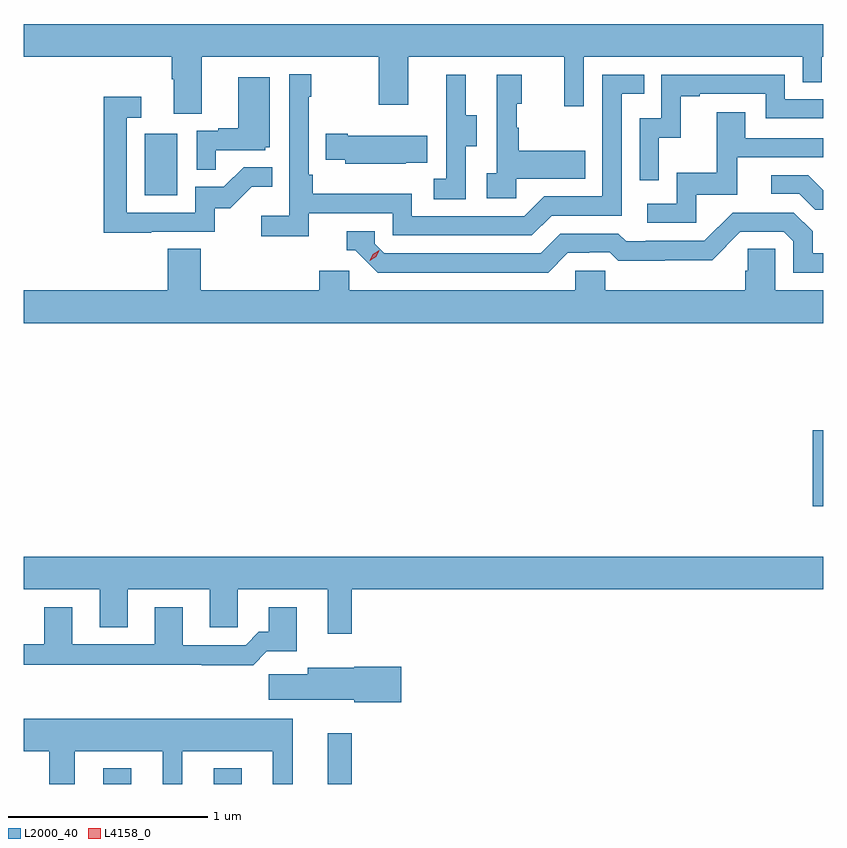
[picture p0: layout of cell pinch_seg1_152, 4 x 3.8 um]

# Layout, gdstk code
import gdstk
lib = gdstk.Library(unit=1e-6, precision=1e-09)
def R(c, l, rs):  # rectangles x0, y0, x1, y1
    for r in rs: c.add(gdstk.rectangle(r[:2], r[2:], *l))
def P(c, l, *ps):  # polygons
    for p in ps: c.add(gdstk.Polygon(p, *l))
L2000_40 = (2000, 40)
L4158_0 = (4158, 0)

pinch_seg1_152 = lib.new_cell('pinch_seg1_152')
R(pinch_seg1_152, L2000_40, [(1081.307,544.099,1081.447,544.177), (1081.859,544.099,1081.999,544.177), (1082.429,544.099,1082.551,544.354), (1084.856,545.487,1084.909,545.868), (1081.514,547.044,1081.678,547.351)])
P(pinch_seg1_152, L2000_40, [(1081.801,547.736),(1082.686,547.736),(1082.686,547.497),(1082.833,547.497),(1082.833,547.736),(1083.614,547.736),(1083.614,547.488),(1083.711,547.488),(1083.711,547.736),(1084.806,547.736),(1084.806,547.609),(1084.902,547.609),(1084.902,547.736),(1084.909,547.736),(1084.909,547.9),(1080.909,547.9),(1080.909,547.736),(1081.649,547.736),(1081.649,547.624),(1081.661,547.624),(1081.661,547.45),(1081.801,547.45)],
  [(1082.336,546.954),(1082.754,546.954),(1082.754,546.843),(1083.451,546.843),(1083.55,546.942),(1083.9,546.942),(1083.9,547.551),(1084.013,547.551),(1084.013,547.647),(1083.804,547.647),(1083.804,547.038),(1083.513,547.038),(1083.414,546.939),(1082.85,546.939),(1082.85,547.051),(1082.354,547.051),(1082.354,547.147),(1082.334,547.147),(1082.334,547.535),(1082.347,547.535),(1082.347,547.648),(1082.238,547.648),(1082.238,546.94),(1082.097,546.94),(1082.097,546.838),(1082.336,546.838)],
  [(1084.086,547.331),(1084.196,547.331),(1084.196,547.539),(1084.291,547.539),(1084.291,547.551),(1084.62,547.551),(1084.62,547.428),(1084.909,547.428),(1084.909,547.524),(1084.716,547.524),(1084.716,547.647),(1084.098,547.647),(1084.098,547.428),(1083.99,547.428),(1083.99,547.119),(1084.086,547.119)],
  [(1083.12,547.288),(1083.175,547.288),(1083.175,547.443),(1083.121,547.443),(1083.121,547.645),(1083.023,547.645),(1083.023,547.431),(1083.024,547.431),(1083.024,547.127),(1082.961,547.127),(1082.961,547.024),(1083.12,547.024)],
  [(1083.372,547.127),(1083.719,547.127),(1083.719,547.267),(1083.385,547.267),(1083.385,547.382),(1083.375,547.382),(1083.375,547.5),(1083.4,547.5),(1083.4,547.645),(1083.276,547.645),(1083.276,547.154),(1083.225,547.154),(1083.225,547.029),(1083.372,547.029)],
  [(1081.871,547.269),(1082.118,547.269),(1082.118,547.284),(1082.14,547.284),(1082.14,547.633),(1081.982,547.633),(1081.982,547.378),(1081.883,547.378),(1081.883,547.365),(1081.776,547.365),(1081.776,547.171),(1081.871,547.171)],
  [(1081.547,546.861),(1081.866,546.861),(1081.866,546.978),(1081.942,546.978),(1082.049,547.085),(1082.153,547.085),(1082.153,547.184),(1082.009,547.184),(1081.911,547.086),(1081.767,547.086),(1081.767,546.957),(1081.425,546.957),(1081.425,547.431),(1081.498,547.431),(1081.498,547.537),(1081.309,547.537),(1081.309,546.856),(1081.547,546.856)],
  [(1084.272,547.047),(1084.477,547.047),(1084.477,547.233),(1084.909,547.233),(1084.909,547.329),(1084.519,547.329),(1084.519,547.459),(1084.375,547.459),(1084.375,547.156),(1084.176,547.156),(1084.176,547.002),(1084.029,547.002),(1084.029,546.906),(1084.272,546.906)],
  [(1082.819,547.205),(1082.927,547.205),(1082.927,547.342),(1082.53,547.342),(1082.53,547.35),(1082.419,547.35),(1082.419,547.22),(1082.517,547.22),(1082.517,547.202),(1082.819,547.202)],
  [(1084.909,547.068),(1084.834,547.143),(1084.647,547.143),(1084.647,547.05),(1084.788,547.05),(1084.868,546.97),(1084.909,546.97)],
  [(1083.631,546.756),(1083.738,546.756),(1083.738,546.759),(1083.841,546.759),(1083.883,546.717),(1084.116,546.717),(1084.116,546.719),(1084.352,546.719),(1084.494,546.861),(1084.71,546.861),(1084.758,546.813),(1084.758,546.657),(1084.909,546.657),(1084.909,546.753),(1084.855,546.753),(1084.855,546.863),(1084.761,546.957),(1084.455,546.957),(1084.314,546.816),(1084.021,546.816),(1084.021,546.813),(1083.922,546.813),(1083.883,546.852),(1083.594,546.852),(1083.495,546.753),(1082.712,546.753),(1082.664,546.801),(1082.664,546.864),(1082.525,546.864),(1082.525,546.768),(1082.568,546.768),(1082.679,546.657),(1083.532,546.657)],
  [(1084.909,546.568),(1084.668,546.568),(1084.668,546.776),(1084.531,546.776),(1084.531,546.666),(1084.517,546.666),(1084.517,546.568),(1083.819,546.568),(1083.819,546.666),(1083.669,546.666),(1083.669,546.568),(1082.538,546.568),(1082.538,546.666),(1082.387,546.666),(1082.387,546.568),(1081.796,546.568),(1081.796,546.776),(1081.631,546.776),(1081.631,546.568),(1080.909,546.568),(1080.909,546.404),(1084.909,546.404)],
  [(1082.551,545.072),(1084.909,545.072),(1084.909,545.236),(1080.909,545.236),(1080.909,545.072),(1081.289,545.072),(1081.289,544.882),(1081.429,544.882),(1081.429,545.072),(1081.841,545.072),(1081.841,544.882),(1081.98,544.882),(1081.98,545.072),(1082.429,545.072),(1082.429,544.851),(1082.551,544.851)],
  [(1082.126,544.763),(1082.275,544.763),(1082.275,544.984),(1082.135,544.984),(1082.135,544.861),(1082.086,544.861),(1082.019,544.794),(1081.705,544.794),(1081.705,544.984),(1081.565,544.984),(1081.565,544.797),(1081.153,544.797),(1081.153,544.984),(1081.013,544.984),(1081.013,544.797),(1080.909,544.797),(1080.909,544.696),(1081.801,544.696),(1081.801,544.694),(1082.057,544.694)],
  [(1082.797,544.686),(1082.562,544.686),(1082.562,544.681),(1082.33,544.681),(1082.33,544.649),(1082.136,544.649),(1082.136,544.52),(1082.562,544.52),(1082.562,544.508),(1082.797,544.508)],
  [(1081.165,544.262),(1081.604,544.262),(1081.604,544.099),(1081.702,544.099),(1081.702,544.262),(1082.156,544.262),(1082.156,544.099),(1082.254,544.099),(1082.254,544.426),(1080.909,544.426),(1080.909,544.262),(1081.037,544.262),(1081.037,544.099),(1081.165,544.099)])
P(pinch_seg1_152, L4158_0, [(1082.641,546.715),(1082.641,546.715),(1082.656,546.748),(1082.687,546.768),(1082.687,546.768),(1082.687,546.768),(1082.672,546.735),(1082.641,546.715)])

lib.write_gds('pinch_seg1_152.gds')
